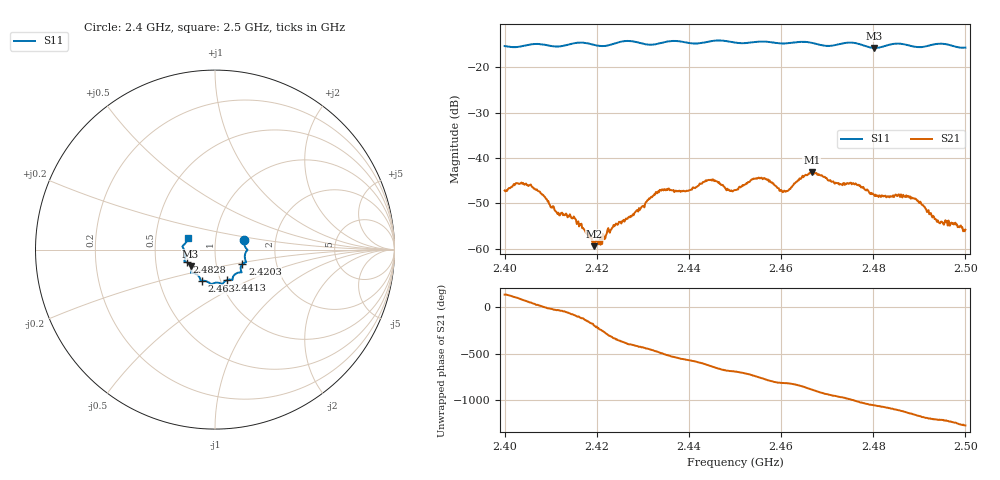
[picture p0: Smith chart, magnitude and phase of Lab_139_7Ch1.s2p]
# Hz S RI R 50
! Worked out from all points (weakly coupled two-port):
!   601 points, 2.4 GHz to 2.5 GHz, reference 50 ohm
!   highest |S21| = -43.17 dB at 2.4667 GHz (marker M1); lowest = -59.4 dB at 2.4195 GHz (marker M2)
!   lowest |S11| = -15.7 dB at 2.4802 GHz (marker M3), VSWR 1.39, Z = 37.5 - j6.97 ohm
!   |S11| at or under -10 dB: start of sweep to end of sweep
!   S12 and S22 are empty: the file has one direction only
!   S11 on the Smith chart (normalised r, x): 2.4 GHz: 1.38, +0.15; 2.4203 GHz: 1.34, -0.22; 2.4413 GHz: 1.08, -0.38; 2.463 GHz: 0.82, -0.29; 2.4828 GHz: 0.72, -0.10; 2.5 GHz: 0.73, +0.10
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2.4e9  0.1628 0.0527  -0.00304 0.00315  0 0  0 0
2.4025e9  0.1653 0.0239  -0.00116 0.00517  0 0  0 0
2.405667e9  0.1785 0.00167  0.00328 0.00391  0 0  0 0
2.4115e9  0.1664 -0.0307  0.00209 -0.0012  0 0  0 0
2.416667e9  0.1735 -0.0698  -0.000939 -0.00164  0 0  0 0
2.4195e9  0.1591 -0.0753  -0.000994 0.000387  0 0  0 0
2.420333e9  0.153 -0.0799  -0.000879 0.000822  0 0  0 0
2.433333e9  0.1003 -0.1516  -0.00233 -0.0036  0 0  0 0
2.441333e9  0.0676 -0.1695  -0.00337 0.0032  0 0  0 0
2.444833e9  0.044 -0.1891  0.00053 0.00575  0 0  0 0
2.45e9  0.0247 -0.1856  0.00394 0.00203  0 0  0 0
2.455167e9  -0.0172 -0.1908  0.00505 -0.00341  0 0  0 0
2.460667e9  -0.0526 -0.1751  -0.000539 -0.00433  0 0  0 0
2.463e9  -0.0721 -0.1736  -0.00179 -0.00494  0 0  0 0
2.466667e9  -0.0815 -0.1674  -0.00668 -0.00189  0 0  0 0
2.476667e9  -0.132 -0.1252  0.00205 0.00458  0 0  0 0
2.480167e9  -0.1359 -0.0905  0.00358 0.00169  0 0  0 0
2.482833e9  -0.1583 -0.0702  0.00368 6.37e-05  0 0  0 0
2.483333e9  -0.1624 -0.0685  0.00376 -0.000321  0 0  0 0
2.488833e9  -0.1647 -0.0375  0.00103 -0.00343  0 0  0 0
2.494e9  -0.1808 0.0151  -0.00133 -0.00156  0 0  0 0
2.5e9  -0.1519 0.0639  -0.00159 0.00031  0 0  0 0
